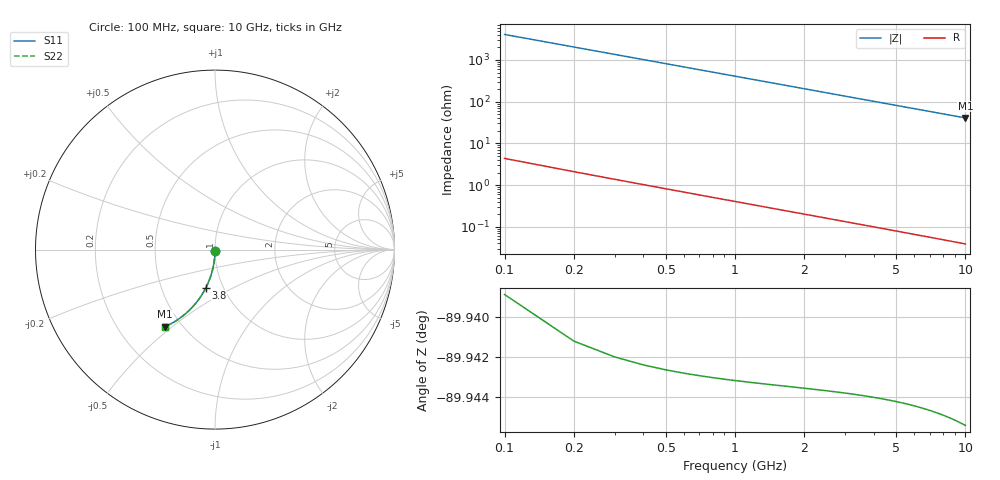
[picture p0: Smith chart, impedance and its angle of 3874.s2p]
# Hz S RI R 50.00
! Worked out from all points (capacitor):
!   100 points, 100 MHz to 10 GHz, reference 50 ohm
!   read as one part in shunt: C = 390 fF near 100 MHz
!   lowest |Z| = 40.8 ohm at 10 GHz (marker M1)
!   S11 on the Smith chart (normalised r, x): 100 MHz: 1.00, -0.01; 3.8 GHz: 0.83, -0.37; 10 GHz: 0.41, -0.47
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1e8  1.67e-05 -0.00594  0.9999 -0.0063  0.9999 -0.0063  1.67e-05 -0.00594
2e8  -0.000101 -0.0119  0.9998 -0.0126  0.9998 -0.0126  -0.000101 -0.0119
3e8  -0.000294 -0.0178  0.9996 -0.0189  0.9996 -0.0189  -0.000294 -0.0178
4e8  -0.000561 -0.0237  0.9993 -0.0252  0.9993 -0.0252  -0.000561 -0.0237
5e8  -0.000903 -0.0297  0.999 -0.0315  0.999 -0.0315  -0.000903 -0.0297
6e8  -0.00132 -0.0356  0.9986 -0.0377  0.9986 -0.0377  -0.00132 -0.0356
7e8  -0.00181 -0.0415  0.9981 -0.044  0.9981 -0.044  -0.00181 -0.0415
8e8  -0.00238 -0.0474  0.9975 -0.0503  0.9975 -0.0503  -0.00238 -0.0474
9e8  -0.00301 -0.0533  0.9969 -0.0565  0.9969 -0.0565  -0.00301 -0.0533
1.1e9  -0.00451 -0.0651  0.9954 -0.069  0.9954 -0.069  -0.00451 -0.0651
1.4e9  -0.00731 -0.0826  0.9926 -0.0876  0.9926 -0.0876  -0.00731 -0.0826
1.8e9  -0.012 -0.1057  0.9878 -0.1121  0.9878 -0.1121  -0.012 -0.1057
2.1e9  -0.0163 -0.1228  0.9835 -0.1303  0.9835 -0.1303  -0.0163 -0.1228
2.5e9  -0.023 -0.1452  0.9768 -0.1542  0.9768 -0.1542  -0.023 -0.1452
2.9e9  -0.0307 -0.1671  0.9691 -0.1775  0.9691 -0.1775  -0.0307 -0.1671
3.4e9  -0.0418 -0.1937  0.958 -0.206  0.958 -0.206  -0.0418 -0.1937
3.8e9  -0.0517 -0.2143  0.9481 -0.228  0.9481 -0.228  -0.0517 -0.2143
4.4e9  -0.0682 -0.2438  0.9316 -0.2597  0.9316 -0.2597  -0.0682 -0.2438
5.1e9  -0.0896 -0.2762  0.9101 -0.2946  0.9101 -0.2946  -0.0896 -0.2762
6.7e9  -0.1457 -0.3404  0.8538 -0.3647  0.8538 -0.3647  -0.1457 -0.3404
8.4e9  -0.2122 -0.3933  0.7872 -0.4239  0.7872 -0.4239  -0.2122 -0.3933
1e10  -0.2772 -0.429  0.722 -0.4656  0.722 -0.4656  -0.2772 -0.429
